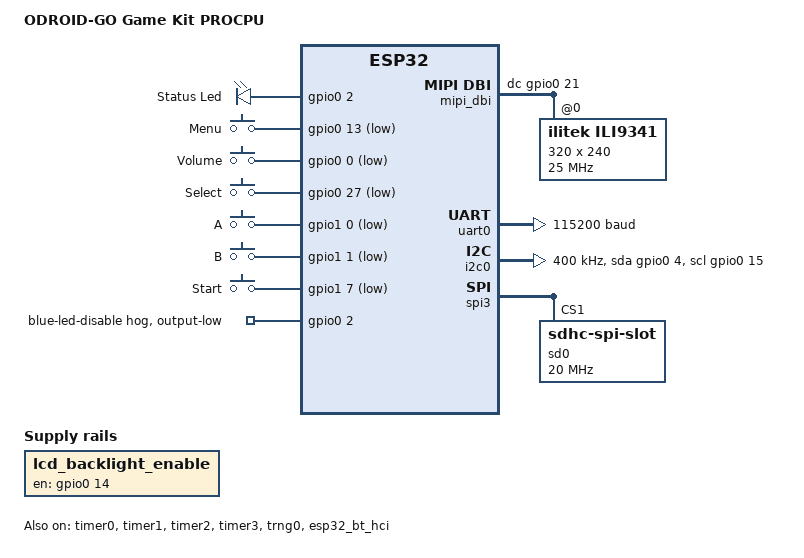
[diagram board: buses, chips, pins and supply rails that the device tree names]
/*
 * Copyright (c) 2019 Yannis Damigos
 *
 * SPDX-License-Identifier: Apache-2.0
 */
/dts-v1/;

#include <espressif/esp32/esp32_wrover_e_n16r4.dtsi>
#include "odroid_go-pinctrl.dtsi"
#include "odroid_go-flash_partition_table.dtsi"
#include <zephyr/dt-bindings/input/input-event-codes.h>

/ {
	model = "ODROID-GO Game Kit PROCPU";
	compatible = "hardkernel,odroid_go", "espressif,esp32";

	chosen {
		zephyr,sram = &sram0;
		zephyr,console = &uart0;
		zephyr,shell-uart = &uart0;
		zephyr,flash = &flash0;
		zephyr,code-partition = &slot0_partition;
		zephyr,display = &ili9341;
		zephyr,bt-hci = &esp32_bt_hci;
	};

	leds {
		compatible = "gpio-leds";
		blue_led: led {
			gpios = <&gpio0 2 GPIO_ACTIVE_HIGH>;
			label = "Status Led";
		};
	};

	gpio_keys {
		compatible = "gpio-keys";
		menu_button: menu_button {
			label = "Menu";
			gpios = <&gpio0 13 (GPIO_PULL_UP | GPIO_ACTIVE_LOW)>;
			zephyr,code = <INPUT_KEY_MENU>;
		};
		volume_button: volume_button {
			label = "Volume";
			gpios = <&gpio0 0 GPIO_ACTIVE_LOW>;
			zephyr,code = <INPUT_KEY_0>;
		};
		select_button: select_button {
			label = "Select";
			gpios = <&gpio0 27 (GPIO_PULL_UP | GPIO_ACTIVE_LOW)>;
			zephyr,code = <INPUT_BTN_SELECT>;
		};
		a_button: a_button {
			label = "A";
			gpios = <&gpio1 0 (GPIO_PULL_UP | GPIO_ACTIVE_LOW)>;
			zephyr,code = <INPUT_KEY_A>;
		};
		b_button: b_button {
			label = "B";
			gpios = <&gpio1 1 (GPIO_PULL_UP | GPIO_ACTIVE_LOW)>;
			zephyr,code = <INPUT_KEY_B>;
		};
		start_button: start_button {
			label = "Start";
			gpios = <&gpio1 7 GPIO_ACTIVE_LOW>;
			zephyr,code = <INPUT_BTN_START>;
		};
	};

	lcd_backlight_en {
		compatible = "regulator-fixed";
		regulator-name = "lcd_backlight_enable";
		enable-gpios = <&gpio0 14 GPIO_ACTIVE_HIGH>;
		regulator-boot-on;
	};

	aliases {
		uart-0 = &uart0;
		led0 = &blue_led;
		sw0 = &menu_button;
		watchdog0 = &wdt0;
		sdhc0 = &sd0;
	};

	mipi_dbi {
		compatible = "zephyr,mipi-dbi-spi";
		dc-gpios = <&gpio0 21 GPIO_ACTIVE_HIGH>;
		spi-dev = <&spi3>;
		write-only;
		#address-cells = <1>;
		#size-cells = <0>;

		ili9341: ili9341@0 {
			compatible = "ilitek,ili9341";
			mipi-max-frequency = <25000000>;
			pixel-format = <0>;
			reg = <0>;
			rotation = <270>;
			width = <320>;
			height = <240>;
		};
	};
};

&uart0 {
	status = "okay";
	current-speed = <115200>;
	pinctrl-0 = <&uart0_default>;
	pinctrl-names = "default";
};

&gpio0 {
	status = "okay";

	blue-led-disable {
		gpio-hog;
		gpios = <2 GPIO_ACTIVE_HIGH>;
		output-low;
	};
};

&gpio1 {
	status = "okay";
};

&i2c0 {
	status = "okay";
	clock-frequency = <I2C_BITRATE_FAST>;
	sda-gpios = <&gpio0 4 GPIO_OPEN_DRAIN>;
	scl-gpios = <&gpio0 15 GPIO_OPEN_DRAIN>;
	pinctrl-0 = <&i2c0_default>;
	pinctrl-names = "default";
};

&spi3 {
	#address-cells = <1>;
	#size-cells = <0>;
	status = "okay";
	pinctrl-0 = <&spim3_default>;
	pinctrl-names = "default";

	sd0: sd@1 {
		compatible = "zephyr,sdhc-spi-slot";
		reg = <1>;
		status = "okay";
		mmc {
			compatible = "zephyr,sdmmc-disk";
			disk-name = "SD";
			status = "okay";
		};
		spi-max-frequency = <20000000>;
	};
};

&timer0 {
	status = "okay";
};

&timer1 {
	status = "okay";
};

&timer2 {
	status = "okay";
};

&timer3 {
	status = "okay";
};

&trng0 {
	status = "okay";
};

&esp32_bt_hci {
	status = "okay";
};
